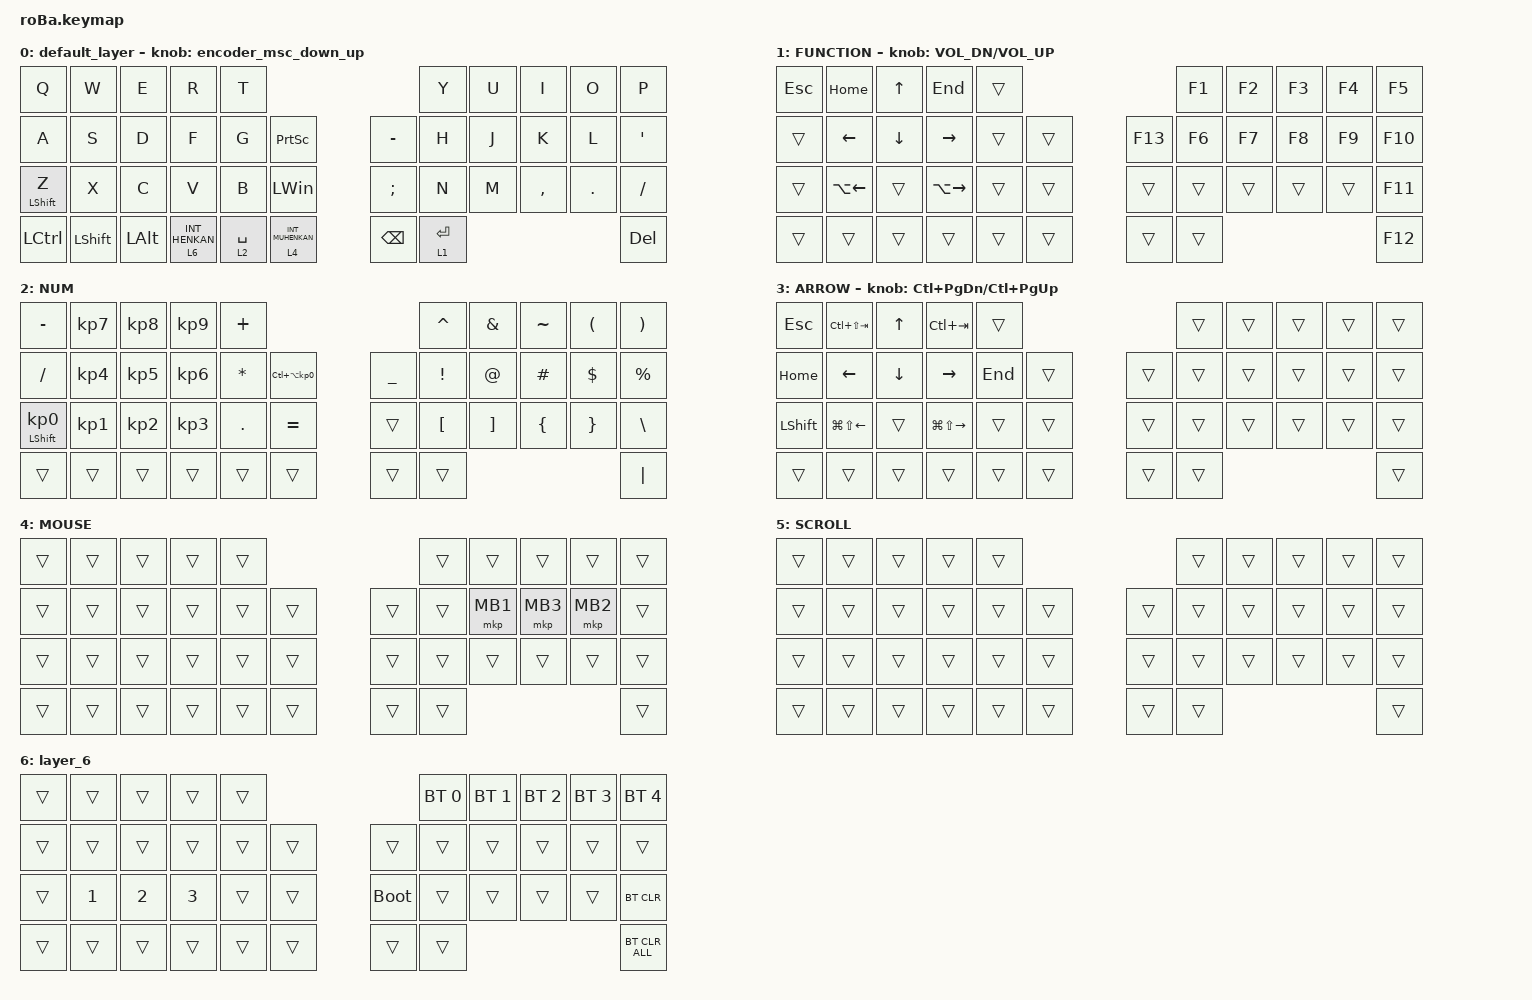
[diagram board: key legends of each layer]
#include <behaviors.dtsi>
#include <dt-bindings/zmk/bt.h>
#include <dt-bindings/zmk/keys.h>
#include <dt-bindings/zmk/pointing.h>

#define ZMK_POINTING_DEFAULT_SCRL_VAL 80  //ロータリーエンコーダにマウススクロールを当てる

&mt {
    flavor = "balanced";
    quick-tap-ms = <0>;
};

&trackball {
    //automouse-layer = <4>; //オートマウスレイヤ切る

    scroll-layers = <2>; //numレイヤーでトラボ・スクロールを実現
    //ここからトラボにカーソル割り当て

    arrows {
        layers = <3>;
        bindings =
            <&kp RIGHT_ARROW>,
            <&kp LEFT_ARROW>,
            <&kp UP_ARROW>,
            <&kp DOWN_ARROW>;

        tick = <10>;
        wait-ms = <5>;
        tap-ms = <5>;
    };

    //ここまで
};

/ {
    combos {
        compatible = "zmk,combos";

        tab {
            bindings = <&kp TAB>;
            key-positions = <11 12>;
        };

        shift_tab {
            bindings = <&kp LS(TAB)>;
            key-positions = <12 13>;
        };

        muhennkann {
            bindings = <&to_layer_0 INT_MUHENKAN>;
            key-positions = <11 10>;
        };

        double_quotation {
            bindings = <&kp DOUBLE_QUOTES>;
            key-positions = <20 21>;
        };

        eq {
            bindings = <&kp EQUAL>;
            key-positions = <24 25>;
        };
    };

    macros {
        to_layer_0: to_layer_0 {
            compatible = "zmk,behavior-macro-one-param";
            #binding-cells = <1>;
            bindings = <&to 0 &macro_param_1to1 &kp MACRO_PLACEHOLDER>;
            label = "TO_LAYER_0";
        };
    };

    behaviors {
        lt_to_layer_0: lt_to_layer_0 {
            compatible = "zmk,behavior-hold-tap";
            label = "LAYER_TAP_TO_0";
            bindings = <&mo>, <&to_layer_0>;

            #binding-cells = <2>;
            tapping-term-ms = <200>;
        };

        //ロータリーエンコーダにマウススクロールを当てる

        encoder_msc_down_up: encoder_msc_down_up {
            compatible = "zmk,behavior-sensor-rotate";
            label = "ENCODER_MSC_DOWN_UP";
            #sensor-binding-cells = <0>;
            bindings = <&msc SCRL_DOWN>, <&msc SCRL_UP>;

            tap-ms = <20>;
        }; //ここまで
    };

    keymap {
        compatible = "zmk,keymap";

        default_layer {
            bindings = <
&kp Q             &kp W           &kp E         &kp R                        &kp T                                                          &kp Y        &kp U  &kp I      &kp O    &kp P
&kp A             &kp S           &kp D         &kp F                        &kp G        &kp PRINTSCREEN                    &kp MINUS      &kp H        &kp J  &kp K      &kp L    &kp SQT
&mt LEFT_SHIFT Z  &kp X           &kp C         &kp V                        &kp B        &kp LEFT_WIN                       &kp SEMICOLON  &kp N        &kp M  &kp COMMA  &kp DOT  &kp SLASH
&kp LCTRL         &kp LEFT_SHIFT  &kp LEFT_ALT  &lt_to_layer_0 6 INT_HENKAN  &lt 2 SPACE  &lt_to_layer_0 4 INT_MUHENKAN      &kp BACKSPACE  &lt 1 ENTER                             &kp DEL
            >;

            sensor-bindings = <&encoder_msc_down_up>;

            // sensor-bindings = <&scroll_up_down>; //sensor-bindings = <&inc_dec_kp PAGE_DOWN PAGE_UP>;
        };

        FUNCTION {
            bindings = <
&kp ESCAPE  &kp HOME            &kp UP_ARROW    &kp END              &trans                       &kp F1  &kp F2  &kp F3  &kp F4  &kp F5
&trans      &kp LEFT_ARROW      &kp DOWN_ARROW  &kp RIGHT_ARROW      &trans  &trans      &kp F13  &kp F6  &kp F7  &kp F8  &kp F9  &kp F10
&trans      &kp LA(LEFT_ARROW)  &trans          &kp LA(RIGHT_ARROW)  &trans  &trans      &trans   &trans  &trans  &trans  &trans  &kp F11
&trans      &trans              &trans          &trans               &trans  &trans      &trans   &trans                          &kp F12
            >;

            sensor-bindings = <&inc_dec_kp C_VOL_DN C_VOL_UP>;
        };

        NUM {
            bindings = <
&kp MINUS                   &kp KP_NUMBER_7  &kp KP_NUMBER_8  &kp KP_NUMBER_9  &kp PLUS                                                   &kp CARET         &kp AMPERSAND      &kp TILDE       &kp LEFT_PARENTHESIS  &kp RIGHT_PARENTHESIS
&kp SLASH                   &kp KP_NUMBER_4  &kp KP_NUMBER_5  &kp KP_NUMBER_6  &kp ASTERISK  &kp LC(LA(KP_NUMBER_0))      &kp UNDERSCORE  &kp EXCLAMATION   &kp AT_SIGN        &kp HASH        &kp DOLLAR            &kp PERCENT
&mt LEFT_SHIFT KP_NUMBER_0  &kp KP_NUMBER_1  &kp KP_NUMBER_2  &kp KP_NUMBER_3  &kp PERIOD    &kp EQUAL                    &trans          &kp LEFT_BRACKET  &kp RIGHT_BRACKET  &kp LEFT_BRACE  &kp RIGHT_BRACE       &kp BACKSLASH
&trans                      &trans           &trans           &trans           &trans        &trans                       &trans          &trans                                                                     &kp PIPE
            >;
        };

        ARROW {
            bindings = <
&kp ESCAPE      &kp LC(LS(TAB))         &kp UP_ARROW    &kp LC(TAB)              &trans                       &trans  &trans  &trans  &trans  &trans
&kp HOME        &kp LEFT_ARROW          &kp DOWN_ARROW  &kp RIGHT_ARROW          &kp END  &trans      &trans  &trans  &trans  &trans  &trans  &trans
&kp LEFT_SHIFT  &kp LG(LS(LEFT_ARROW))  &trans          &kp LG(LS(RIGHT_ARROW))  &trans   &trans      &trans  &trans  &trans  &trans  &trans  &trans
&trans          &trans                  &trans          &trans                   &trans   &trans      &trans  &trans                          &trans
            >;

            sensor-bindings = <&inc_dec_kp LC(PAGE_DOWN) LC(PAGE_UP)>;
        };

        MOUSE {
            bindings = <
&trans  &trans  &trans  &trans  &trans                      &trans  &trans    &trans    &trans    &trans
&trans  &trans  &trans  &trans  &trans  &trans      &trans  &trans  &mkp MB1  &mkp MB3  &mkp MB2  &trans
&trans  &trans  &trans  &trans  &trans  &trans      &trans  &trans  &trans    &trans    &trans    &trans
&trans  &trans  &trans  &trans  &trans  &trans      &trans  &trans                                &trans
            >;
        };

        SCROLL {
            bindings = <
&trans  &trans  &trans  &trans  &trans                      &trans  &trans  &trans  &trans  &trans
&trans  &trans  &trans  &trans  &trans  &trans      &trans  &trans  &trans  &trans  &trans  &trans
&trans  &trans  &trans  &trans  &trans  &trans      &trans  &trans  &trans  &trans  &trans  &trans
&trans  &trans  &trans  &trans  &trans  &trans      &trans  &trans                          &trans
            >;
        };

        layer_6 {
            bindings = <
&trans  &trans        &trans        &trans        &trans                           &bt BT_SEL 0  &bt BT_SEL 1  &bt BT_SEL 2  &bt BT_SEL 3  &bt BT_SEL 4
&trans  &trans        &trans        &trans        &trans  &trans      &trans       &trans        &trans        &trans        &trans        &trans
&trans  &kp NUMBER_1  &kp NUMBER_2  &kp NUMBER_3  &trans  &trans      &bootloader  &trans        &trans        &trans        &trans        &bt BT_CLR
&trans  &trans        &trans        &trans        &trans  &trans      &trans       &trans                                                  &bt BT_CLR_ALL
            >;
        };
    };
};
